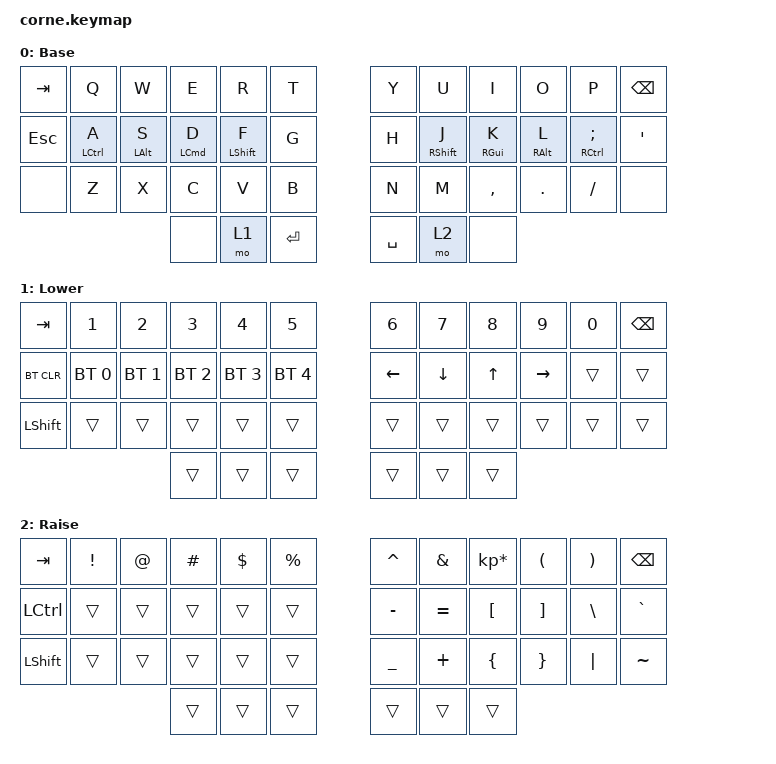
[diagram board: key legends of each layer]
/*
 * Copyright (c) 2020 The ZMK Contributors
 *
 * SPDX-License-Identifier: MIT
 */

#include <behaviors.dtsi>
#include <dt-bindings/zmk/bt.h>
#include <dt-bindings/zmk/keys.h>

/ {
    behaviors {
        HRM_L: HRM_L {
            compatible = "zmk,behavior-hold-tap";
            label = "HRM_L";
            bindings = <&kp>, <&kp>;

            #binding-cells = <2>;
            tapping-term-ms = <280>;
            quick-tap-ms = <175>;
            flavor = "tap-preferred";
            hold-trigger-on-release;
            require-prior-idle-ms = <125>;
            hold-trigger-key-positions = <6 7 8 9 10 18 19 20 21 22 30 31 32 33 34 35 23 11>;
        };

        HRM_R: HRM_R {
            compatible = "zmk,behavior-hold-tap";
            label = "HRM_R";
            bindings = <&kp>, <&kp>;

            #binding-cells = <2>;
            tapping-term-ms = <280>;
            quick-tap-ms = <175>;
            flavor = "tap-preferred";
            hold-trigger-on-release;
            require-prior-idle-ms = <125>;
            hold-trigger-key-positions = <0 1 2 4 5 12 13 14 15 16 17 24 25 26 27 28 29 3>;
        };
    };

    keymap {
        compatible = "zmk,keymap";

        default_layer {
            // -----------------------------------------------------------------------------------------
            // |  TAB |  Q  |  W  |  E  |  R  |  T  |   |  Y  |  U   |  I  |  O  |  P  | BKSP |
            // | CTRL |  A  |  S  |  D  |  F  |  G  |   |  H  |  J   |  K  |  L  |  ;  |  '   |
            // | SHFT |  Z  |  X  |  C  |  V  |  B  |   |  N  |  M   |  ,  |  .  |  /  | ESC  |
            //                    | GUI | LWR | SPC |   | ENT | RSE  | ALT |

            display-name = "Base";
            bindings = <
&kp TAB     &kp Q                  &kp W              &kp E                  &kp R                &kp T        &kp Y      &kp U                 &kp I               &kp O               &kp P                      &kp BSPC
&kp ESCAPE  &HRM_L LEFT_CONTROL A  &HRM_L LEFT_ALT S  &HRM_L LEFT_COMMAND D  &HRM_L LEFT_SHIFT F  &kp G        &kp H      &HRM_R RIGHT_SHIFT J  &HRM_R RIGHT_GUI K  &HRM_R RIGHT_ALT L  &HRM_R RIGHT_CONTROL SEMI  &kp SQT
&none       &kp Z                  &kp X              &kp C                  &kp V                &kp B        &kp N      &kp M                 &kp COMMA           &kp DOT             &kp FSLH                   &none
                                                      &none                  &mo 1                &kp ENTER    &kp SPACE  &mo 2                 &none
            >;
        };

        lower_layer {
            // -----------------------------------------------------------------------------------------
            // |  TAB |  1  |  2  |  3  |  4  |  5  |   |  6  |  7  |  8  |  9  |  0  | BKSP |
            // | BTCLR| BT1 | BT2 | BT3 | BT4 | BT5 |   | LFT | DWN |  UP | RGT |     |      |
            // | SHFT |     |     |     |     |     |   |     |     |     |     |     |      |
            //                    | GUI |     | SPC |   | ENT |     | ALT |

            display-name = "Lower";
            bindings = <
&kp TAB     &kp N1        &kp N2        &kp N3        &kp N4        &kp N5          &kp N6    &kp N7    &kp N8  &kp N9     &kp N0  &kp BSPC
&bt BT_CLR  &bt BT_SEL 0  &bt BT_SEL 1  &bt BT_SEL 2  &bt BT_SEL 3  &bt BT_SEL 4    &kp LEFT  &kp DOWN  &kp UP  &kp RIGHT  &trans  &trans
&kp LSHFT   &trans        &trans        &trans        &trans        &trans          &trans    &trans    &trans  &trans     &trans  &trans
                                        &trans        &trans        &trans          &trans    &trans    &trans
            >;
        };

        raise_layer {
            // -----------------------------------------------------------------------------------------
            // |  TAB |  !  |  @  |  #  |  $  |  %  |   |  ^  |  &  |  *  |  (  |  )  | BKSP |
            // | CTRL |     |     |     |     |     |   |  -  |  =  |  [  |  ]  |  \  |  `   |
            // | SHFT |     |     |     |     |     |   |  _  |  +  |  {  |  }  | "|" |  ~   |
            //                    | GUI |     | SPC |   | ENT |     | ALT |

            display-name = "Raise";
            bindings = <
&kp TAB    &kp EXCL  &kp AT  &kp HASH  &kp DLLR  &kp PRCNT    &kp CARET  &kp AMPS   &kp KP_MULTIPLY  &kp LPAR  &kp RPAR  &kp BSPC
&kp LCTRL  &trans    &trans  &trans    &trans    &trans       &kp MINUS  &kp EQUAL  &kp LBKT         &kp RBKT  &kp BSLH  &kp GRAVE
&kp LSHFT  &trans    &trans  &trans    &trans    &trans       &kp UNDER  &kp PLUS   &kp LBRC         &kp RBRC  &kp PIPE  &kp TILDE
                             &trans    &trans    &trans       &trans     &trans     &trans
            >;
        };

        extra_1 { status = "reserved"; };

        extra_2 { status = "reserved"; };

        extra_3 { status = "reserved"; };
    };
};
